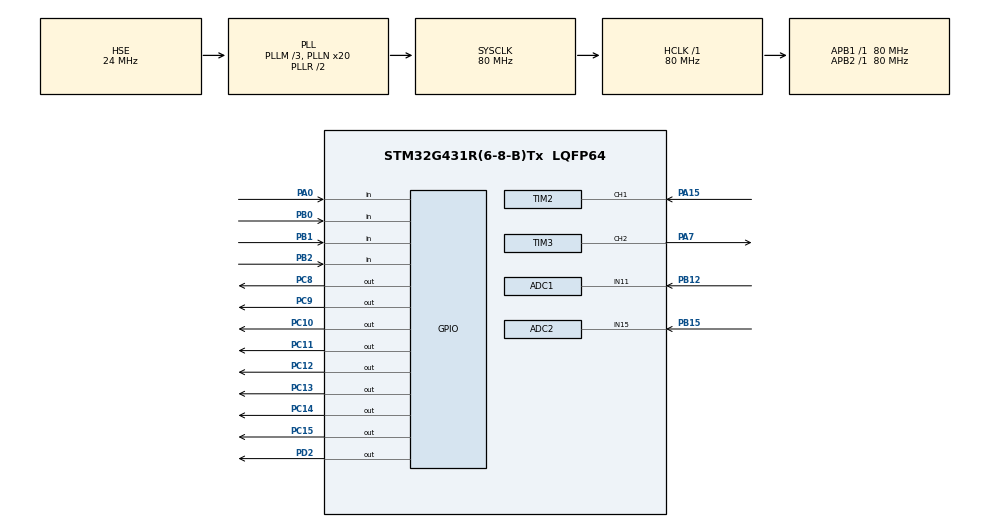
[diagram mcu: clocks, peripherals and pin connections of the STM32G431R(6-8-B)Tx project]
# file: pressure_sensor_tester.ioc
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ADC1.Channel-0\#ChannelRegularConversion=ADC_CHANNEL_11
ADC1.NbrOfConversionFlag=1
ADC1.OffsetNumber-0\#ChannelRegularConversion=ADC_OFFSET_NONE
ADC1.Rank-0\#ChannelRegularConversion=1
ADC1.SamplingTime-0\#ChannelRegularConversion=ADC_SAMPLETIME_2CYCLES_5
ADC1.master=1
ADC2.Channel-1\#ChannelRegularConversion=ADC_CHANNEL_15
ADC2.NbrOfConversionFlag=1
ADC2.OffsetNumber-1\#ChannelRegularConversion=ADC_OFFSET_NONE
ADC2.Rank-1\#ChannelRegularConversion=1
ADC2.SamplingTime-1\#ChannelRegularConversion=ADC_SAMPLETIME_2CYCLES_5
Mcu.Family=STM32G4
Mcu.Name=STM32G431R(6-8-B)Tx
Mcu.Package=LQFP64
NVIC.PriorityGroup=NVIC_PRIORITYGROUP_4
NVIC.TIM2_IRQn=true\:0\:0\:false\:false\:true\:true\:true\:true
NVIC.TIM4_IRQn=true\:0\:0\:false\:false\:true\:true\:true\:true
PA0.GPIO_PuPd=GPIO_PULLUP
PA0.Signal=GPIO_Input
PA13.Mode=Serial_Wire
PA13.Signal=SYS_JTMS-SWDIO
PA14.Mode=Serial_Wire
PA14.Signal=SYS_JTCK-SWCLK
PA15.Signal=S_TIM2_CH1
PA7.Signal=S_TIM3_CH2
PB0.GPIO_PuPd=GPIO_PULLUP
PB0.Signal=GPIO_Input
PB1.GPIO_PuPd=GPIO_PULLUP
PB1.Signal=GPIO_Input
PB12.Mode=IN11-Single-Ended
PB12.Signal=ADC1_IN11
PB15.Mode=IN15-Single-Ended
PB15.Signal=ADC2_IN15
PB2.GPIO_PuPd=GPIO_PULLUP
PB2.Signal=GPIO_Input
PC10.PinState=GPIO_PIN_SET
PC10.Signal=GPIO_Output
PC11.PinState=GPIO_PIN_SET
PC11.Signal=GPIO_Output
PC12.PinState=GPIO_PIN_SET
PC12.Signal=GPIO_Output
PC13.PinState=GPIO_PIN_SET
PC13.Signal=GPIO_Output
PC14-OSC32_IN.PinState=GPIO_PIN_SET
PC14-OSC32_IN.Signal=GPIO_Output
PC15-OSC32_OUT.PinState=GPIO_PIN_SET
PC15-OSC32_OUT.Signal=GPIO_Output
PC8.PinState=GPIO_PIN_SET
PC8.Signal=GPIO_Output
PC9.PinState=GPIO_PIN_SET
PC9.Signal=GPIO_Output
PD2.PinState=GPIO_PIN_SET
PD2.Signal=GPIO_Output
PF0-OSC_IN.Mode=HSE-External-Oscillator
PF0-OSC_IN.Signal=RCC_OSC_IN
PF1-OSC_OUT.Mode=HSE-External-Oscillator
PF1-OSC_OUT.Signal=RCC_OSC_OUT
ProjectManager.HeapSize=0x200
ProjectManager.StackSize=0x400
ProjectManager.TargetToolchain=MDK-ARM V5.32
RCC.ADC12Freq_Value=80000000
RCC.AHBFreq_Value=80000000
RCC.APB1Freq_Value=80000000
RCC.APB1TimFreq_Value=80000000
RCC.APB2Freq_Value=80000000
RCC.APB2TimFreq_Value=80000000
RCC.CortexFreq_Value=80000000
RCC.EXTERNAL_CLOCK_VALUE=12288000
RCC.HCLKFreq_Value=80000000
RCC.HSE_VALUE=24000000
RCC.HSI48_VALUE=48000000
RCC.HSI_VALUE=16000000
RCC.LSE_VALUE=32768
RCC.PLLM=RCC_PLLM_DIV3
RCC.PLLN=20
RCC.PLLSourceVirtual=RCC_PLLSOURCE_HSE
RCC.SYSCLKFreq_VALUE=80000000
RCC.SYSCLKSource=RCC_SYSCLKSOURCE_PLLCLK
RCC.USBFreq_Value=80000000
RCC.VCOOutputFreq_Value=160000000
SH.S_TIM2_CH1.0=TIM2_CH1,PWM_Input_1
SH.S_TIM3_CH2.0=TIM3_CH2,PWM Generation2 CH2
TIM2.Prescaler=80-1
TIM3.Channel-PWM\ Generation2\ CH2=TIM_CHANNEL_2
TIM3.PeriodNoDither=1000-1
TIM3.Prescaler=20-1
TIM4.PeriodNoDither=100-1
TIM4.Prescaler=800-1
VP_SYS_VS_DBSignals.Mode=DisableDeadBatterySignals
VP_TIM2_VS_ClockSourceINT.Mode=Internal
VP_TIM3_VS_ClockSourceINT.Mode=Internal
VP_TIM4_VS_ClockSourceINT.Mode=Internal
board=custom

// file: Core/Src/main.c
/* USER CODE BEGIN Header */
/**
  ******************************************************************************
  * @file           : main.c
  * @brief          : Main program body
  ******************************************************************************
  * @attention
  *
  * Copyright (c) 2026 STMicroelectronics.
  * All rights reserved.
  *
  * This software is licensed under terms that can be found in the LICENSE file
  * in the root directory of this software component.
  * If no LICENSE file comes with this software, it is provided AS-IS.
  *
  ******************************************************************************
  */
/* USER CODE END Header */
#include "main.h"
#include "adc.h"
#include "tim.h"
#include "gpio.h"

/* USER CODE BEGIN Includes */
#include "input_keys.h"
#include "lcd.h"
#include "pressure_tester.h"
/* USER CODE END Includes */

void SystemClock_Config(void);

int main(void)
{

  /* MCU Configuration--------------------------------------------------------*/

  /* Reset of all peripherals, Initializes the Flash interface and the Systick. */
  HAL_Init();

  /* Configure the system clock */
  SystemClock_Config();

  /* Initialize all configured peripherals */
  MX_GPIO_Init();
  MX_ADC1_Init();
  MX_ADC2_Init();
  MX_TIM3_Init();
  MX_TIM2_Init();
  MX_TIM4_Init();
  /* USER CODE BEGIN 2 */
	HAL_GPIO_WritePin(GPIOD,GPIO_PIN_2,GPIO_PIN_RESET);
	LCD_Init();
	LCD_Clear(Black);
	LCD_SetBackColor(Black);
	LCD_SetTextColor(White);
	 HAL_ADCEx_Calibration_Start(&hadc1, ADC_SINGLE_ENDED);
	 HAL_ADCEx_Calibration_Start(&hadc2, ADC_SINGLE_ENDED);
	 HAL_TIM_PWM_Start(&htim3, TIM_CHANNEL_2);
	 HAL_TIM_IC_Start(&htim2, TIM_CHANNEL_2);
	 HAL_TIM_IC_Start_IT(&htim2, TIM_CHANNEL_1);
	 pressure_tester_init();
	 input_keys_init();

  /* USER CODE END 2 */

  /* Infinite loop */
  while (1)
  {

    /* USER CODE BEGIN 3 */
    input_keys_poll();
		pressure_tester_poll();
  }
  /* USER CODE END 3 */
}

void SystemClock_Config(void)
{
  RCC_OscInitTypeDef RCC_OscInitStruct = {0};
  RCC_ClkInitTypeDef RCC_ClkInitStruct = {0};

  /** Configure the main internal regulator output voltage
  */
  HAL_PWREx_ControlVoltageScaling(PWR_REGULATOR_VOLTAGE_SCALE1);

  /** Initializes the RCC Oscillators according to the specified parameters
  * in the RCC_OscInitTypeDef structure.
  */
  RCC_OscInitStruct.OscillatorType = RCC_OSCILLATORTYPE_HSE;
  RCC_OscInitStruct.HSEState = RCC_HSE_ON;
  RCC_OscInitStruct.PLL.PLLState = RCC_PLL_ON;
  RCC_OscInitStruct.PLL.PLLSource = RCC_PLLSOURCE_HSE;
  RCC_OscInitStruct.PLL.PLLM = RCC_PLLM_DIV3;
  RCC_OscInitStruct.PLL.PLLN = 20;
  RCC_OscInitStruct.PLL.PLLP = RCC_PLLP_DIV2;
  RCC_OscInitStruct.PLL.PLLQ = RCC_PLLQ_DIV2;
  RCC_OscInitStruct.PLL.PLLR = RCC_PLLR_DIV2;
  if (HAL_RCC_OscConfig(&RCC_OscInitStruct) != HAL_OK)
  {
    Error_Handler();
  }

  /** Initializes the CPU, AHB and APB buses clocks
  */
  RCC_ClkInitStruct.ClockType = RCC_CLOCKTYPE_HCLK|RCC_CLOCKTYPE_SYSCLK
                              |RCC_CLOCKTYPE_PCLK1|RCC_CLOCKTYPE_PCLK2;
  RCC_ClkInitStruct.SYSCLKSource = RCC_SYSCLKSOURCE_PLLCLK;
  RCC_ClkInitStruct.AHBCLKDivider = RCC_SYSCLK_DIV1;
  RCC_ClkInitStruct.APB1CLKDivider = RCC_HCLK_DIV1;
  RCC_ClkInitStruct.APB2CLKDivider = RCC_HCLK_DIV1;

  if (HAL_RCC_ClockConfig(&RCC_ClkInitStruct, FLASH_LATENCY_2) != HAL_OK)
  {
    Error_Handler();
  }
}

void Error_Handler(void)
{
  __disable_irq();
  while (1)
  {
  }
}
